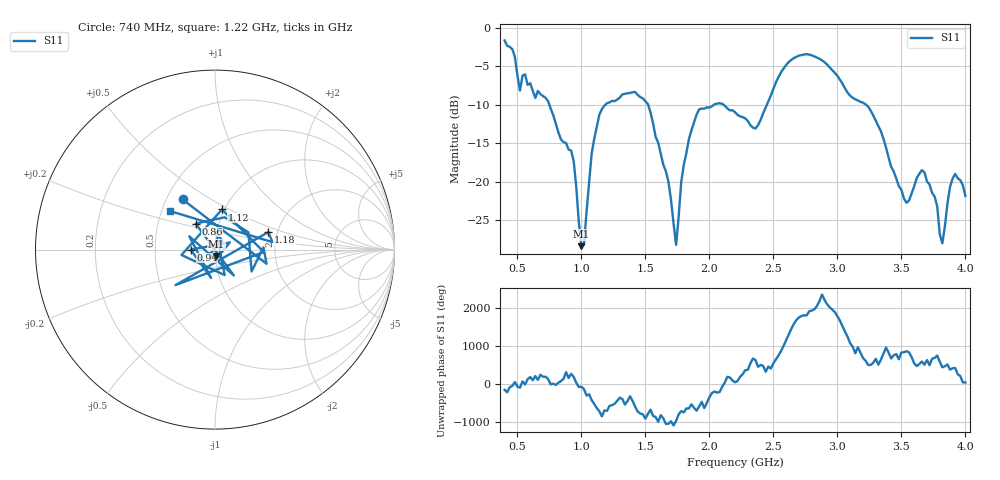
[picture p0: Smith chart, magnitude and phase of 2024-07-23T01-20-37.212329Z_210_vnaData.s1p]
!Created with skrf (http://scikit-rf.org).
# Hz S RI R 50.0
!freq ReS11 ImS11
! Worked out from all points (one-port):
!   181 points, 400 MHz to 4 GHz, reference 50 ohm
!   lowest |S11| = -28.4 dB at 1 GHz (marker M1), VSWR 1.08, Z = 50.7 - j3.77 ohm
!   |S11| at or under -10 dB: 749.3 MHz to 1.188 GHz (438.3 MHz wide, 45.3 % of centre); 1.521 GHz to 2.036 GHz (514.2 MHz wide, 28.9 % of centre); 3.224 GHz to end of sweep (the widest 3 of 4)
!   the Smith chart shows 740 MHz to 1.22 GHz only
!   S11 on the Smith chart (normalised r, x): 740 MHz: 0.60, +0.38; 860 MHz: 0.78, +0.23; 940 MHz: 0.76, -0.00; 1.12 GHz: 0.97, +0.46; 1.18 GHz: 1.79, +0.38; 1.22 GHz: 0.56, +0.27
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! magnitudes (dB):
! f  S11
! 400 MHz  -1.6
! 520 MHz  -8.2
! 740 MHz  -9.6
! 860 MHz  -14.9
! 940 MHz  -17.4
! 1 GHz  -28.4
! 1.02 GHz  -28.2
! 1.08 GHz  -16.4
! 1.12 GHz  -12.9
! 1.18 GHz  -10.1
! 1.22 GHz  -9.7
! 1.3 GHz  -9.1
! 1.52 GHz  -9.9
! 1.68 GHz  -20.0
! 1.74 GHz  -28.2
! 1.76 GHz  -24.5
! 1.8 GHz  -17.8
! 1.92 GHz  -10.6
! 2.2 GHz  -11.0
! 2.36 GHz  -13.1
! 2.66 GHz  -3.9
! 3.1 GHz  -8.8
! 3.26 GHz  -10.8
! 3.56 GHz  -22.5
! 3.68 GHz  -18.8
! 3.82 GHz  -28.0
! 3.9 GHz  -19.6
! 4 GHz  -21.9
